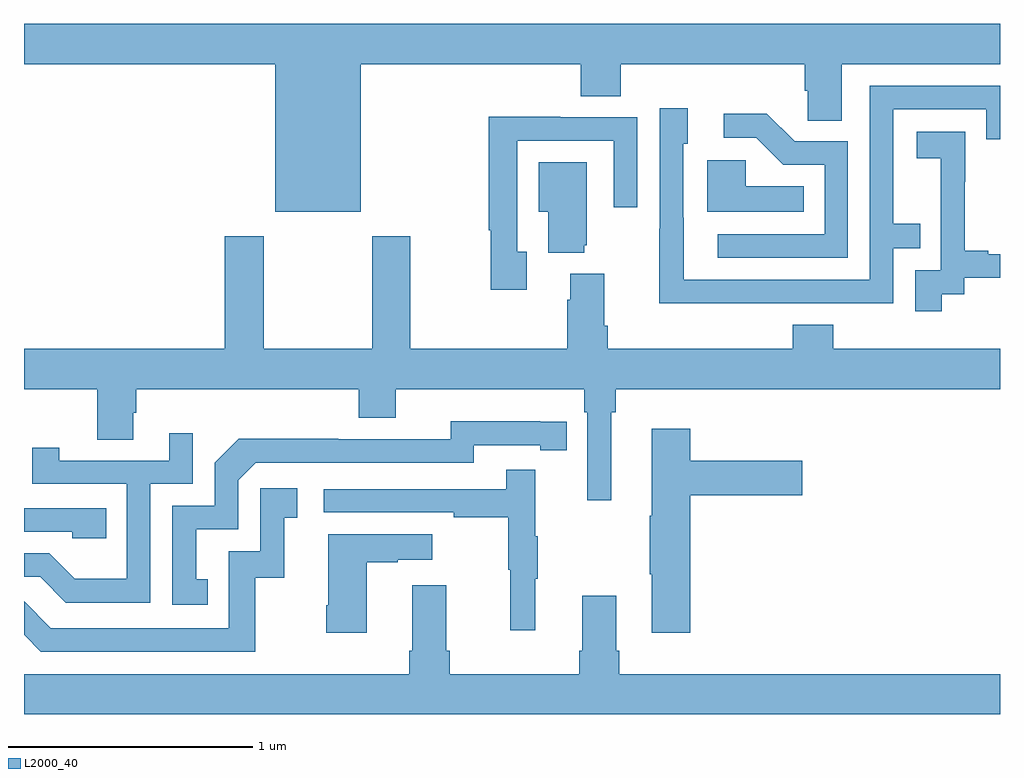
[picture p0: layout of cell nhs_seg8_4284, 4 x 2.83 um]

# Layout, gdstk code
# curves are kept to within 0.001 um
import gdstk
lib = gdstk.Library(unit=1e-6, precision=1e-09)
def P(c, l, *ps):  # polygons
    for p in ps: c.add(gdstk.Polygon(p, *l))
L2000_40 = (2000, 40)

nhs_seg8_4284 = lib.new_cell('nhs_seg8_4284')
P(nhs_seg8_4284, L2000_40, [(374.38,1115.168),(375.281,1115.168),(375.281,1115.035),(375.446,1115.035),(375.446,1115.168),(376.199,1115.168),(376.199,1115.059),(376.212,1115.059),(376.212,1114.936),(376.351,1114.936),(376.351,1115.168),(377,1115.168),(377,1115.332),(373,1115.332),(373,1115.168),(374.03,1115.168),(374.03,1114.562),(374.38,1114.562)],
  [(376.067,1114.188),(376.563,1114.188),(376.563,1114.413),(376.673,1114.413),(376.673,1114.514),(376.563,1114.514),(376.563,1114.983),(376.944,1114.983),(376.944,1114.86),(377,1114.86),(377,1115.079),(376.467,1115.079),(376.467,1114.284),(375.703,1114.284),(375.703,1114.538),(375.702,1114.538),(375.702,1114.842),(375.721,1114.842),(375.721,1114.987),(375.606,1114.987),(375.606,1114.493),(375.604,1114.493),(375.604,1114.187),(376.067,1114.187)],
  [(376.377,1114.851),(376.158,1114.851),(376.045,1114.964),(375.867,1114.964),(375.867,1114.866),(376.001,1114.866),(376.112,1114.755),(376.281,1114.755),(376.281,1114.47),(375.843,1114.47),(375.843,1114.374),(376.377,1114.374)],
  [(375.061,1114.398),(375.021,1114.398),(375.021,1114.854),(375.417,1114.854),(375.417,1114.581),(375.513,1114.581),(375.513,1114.95),(375.197,1114.95),(375.197,1114.952),(374.905,1114.952),(374.905,1114.486),(374.913,1114.486),(374.913,1114.242),(375.061,1114.242)],
  [(376.762,1114.225),(376.854,1114.225),(376.854,1114.293),(377,1114.293),(377,1114.389),(376.951,1114.389),(376.951,1114.402),(376.856,1114.402),(376.856,1114.685),(376.857,1114.685),(376.857,1114.891),(376.659,1114.891),(376.659,1114.781),(376.757,1114.781),(376.757,1114.553),(376.758,1114.553),(376.758,1114.323),(376.653,1114.323),(376.653,1114.155),(376.762,1114.155)],
  [(376.196,1114.666),(375.957,1114.666),(375.957,1114.774),(375.8,1114.774),(375.8,1114.562),(376.196,1114.562)],
  [(375.296,1114.425),(375.307,1114.425),(375.307,1114.765),(375.11,1114.765),(375.11,1114.562),(375.149,1114.562),(375.149,1114.394),(375.296,1114.394)],
  [(375.406,1113.74),(375.425,1113.74),(375.425,1113.836),(377,1113.836),(377,1114),(376.316,1114),(376.316,1114.099),(376.151,1114.099),(376.151,1114),(375.392,1114),(375.392,1114.096),(375.379,1114.096),(375.379,1114.309),(375.239,1114.309),(375.239,1114.202),(375.227,1114.202),(375.227,1114),(374.583,1114),(374.583,1114.462),(374.428,1114.462),(374.428,1114),(373.983,1114),(373.983,1114.462),(373.823,1114.462),(373.823,1114),(373,1114),(373,1113.836),(373.3,1113.836),(373.3,1113.628),(373.447,1113.628),(373.447,1113.738),(373.46,1113.738),(373.46,1113.836),(374.372,1113.836),(374.372,1113.719),(374.524,1113.719),(374.524,1113.836),(375.296,1113.836),(375.296,1113.74),(375.309,1113.74),(375.309,1113.381),(375.406,1113.381)],
  [(373.754,1113.057),(373.705,1113.057),(373.705,1113.261),(373.878,1113.261),(373.878,1113.462),(373.95,1113.534),(374.844,1113.534),(374.844,1113.606),(375.116,1113.606),(375.116,1113.586),(375.224,1113.586),(375.224,1113.702),(374.748,1113.703),(374.748,1113.63),(374.288,1113.63),(374.288,1113.632),(373.88,1113.632),(373.782,1113.534),(373.782,1113.357),(373.608,1113.357),(373.608,1112.952),(373.754,1112.952)],
  [(375.731,1113.401),(376.189,1113.401),(376.189,1113.543),(375.731,1113.543),(375.731,1113.673),(375.572,1113.673),(375.572,1113.317),(375.565,1113.317),(375.565,1113.076),(375.572,1113.076),(375.572,1112.838),(375.731,1112.838)],
  [(373.518,1113.447),(373.692,1113.447),(373.692,1113.655),(373.595,1113.655),(373.595,1113.543),(373.144,1113.543),(373.144,1113.595),(373.033,1113.595),(373.033,1113.447),(373.422,1113.447),(373.422,1113.058),(373.208,1113.058),(373.104,1113.162),(373,1113.162),(373,1113.066),(373.067,1113.066),(373.172,1112.961),(373.518,1112.961)],
  [(375.095,1113.059),(375.106,1113.059),(375.106,1113.233),(375.095,1113.233),(375.095,1113.505),(374.977,1113.505),(374.977,1113.426),(374.229,1113.426),(374.229,1113.33),(374.761,1113.33),(374.761,1113.31),(374.985,1113.31),(374.985,1113.096),(374.992,1113.096),(374.992,1112.847),(375.095,1112.847)],
  [(373.948,1113.063),(374.066,1113.063),(374.066,1113.309),(374.119,1113.309),(374.119,1113.43),(373.968,1113.43),(373.968,1113.171),(373.839,1113.171),(373.839,1112.856),(373.11,1112.856),(373,1112.966),(373,1112.828),(373.068,1112.76),(373.948,1112.76)],
  [(373.337,1113.348),(373,1113.348),(373,1113.252),(373.197,1113.252),(373.197,1113.225),(373.337,1113.225)],
  [(374.404,1113.127),(374.531,1113.127),(374.531,1113.137),(374.674,1113.137),(374.674,1113.241),(374.246,1113.241),(374.246,1112.95),(374.239,1112.95),(374.239,1112.838),(374.404,1112.838)],
  [(377,1112.668),(375.44,1112.668),(375.44,1112.764),(375.427,1112.764),(375.427,1112.989),(375.287,1112.989),(375.287,1112.764),(375.275,1112.764),(375.275,1112.668),(374.744,1112.668),(374.744,1112.764),(374.731,1112.764),(374.731,1113.031),(374.591,1113.031),(374.591,1112.764),(374.579,1112.764),(374.579,1112.668),(373,1112.668),(373,1112.504),(377,1112.504)])

lib.write_gds('nhs_seg8_4284.gds')
